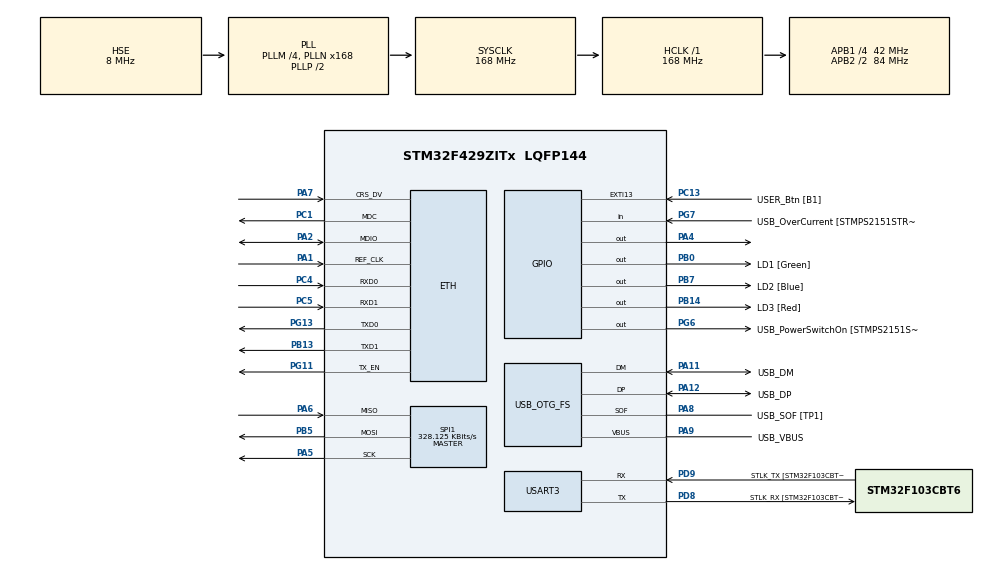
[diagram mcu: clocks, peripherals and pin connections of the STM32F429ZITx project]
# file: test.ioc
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ETH.MediaInterface=HAL_ETH_RMII_MODE
FREERTOS.Tasks01=LED_Blink_Task,24,128,LED_Blink,Default,NULL,Dynamic,NULL,NULL;Read_Tempuratur,23,128,Read_Tempurature,Default,NULL,Dynamic,NULL,NULL
FREERTOS.configUSE_NEWLIB_REENTRANT=1
Mcu.Family=STM32F4
Mcu.Name=STM32F429ZITx
Mcu.Package=LQFP144
NVIC.EXTI15_10_IRQn=true\:5\:0\:false\:false\:true\:true\:true\:true\:true
NVIC.PriorityGroup=NVIC_PRIORITYGROUP_4
NVIC.TIM2_IRQn=true\:5\:0\:false\:false\:true\:true\:true\:true\:true
NVIC.TIM6_DAC_IRQn=true\:15\:0\:false\:false\:true\:false\:false\:true\:true
NVIC.TimeBase=TIM6_DAC_IRQn
NVIC.TimeBaseIP=TIM6
PA1.GPIO_Mode=GPIO_MODE_AF_PP
PA1.GPIO_PuPd=GPIO_NOPULL
PA1.GPIO_Speed=GPIO_SPEED_FREQ_VERY_HIGH
PA1.Mode=RMII
PA1.Signal=ETH_REF_CLK
PA10.GPIO_Label=USB_ID
PA10.Signal=USB_OTG_FS_ID
PA11.GPIO_Label=USB_DM
PA11.Mode=Device_Only
PA11.Signal=USB_OTG_FS_DM
PA12.GPIO_Label=USB_DP
PA12.Mode=Device_Only
PA12.Signal=USB_OTG_FS_DP
PA13.GPIO_Label=TMS
PA13.Mode=Serial_Wire
PA13.Signal=SYS_JTMS-SWDIO
PA14.GPIO_Label=TCK
PA14.Mode=Serial_Wire
PA14.Signal=SYS_JTCK-SWCLK
PA2.GPIO_Mode=GPIO_MODE_AF_PP
PA2.GPIO_PuPd=GPIO_NOPULL
PA2.GPIO_Speed=GPIO_SPEED_FREQ_VERY_HIGH
PA2.Mode=RMII
PA2.Signal=ETH_MDIO
PA4.Signal=GPIO_Output
PA5.Mode=Full_Duplex_Master
PA5.Signal=SPI1_SCK
PA6.Mode=Full_Duplex_Master
PA6.Signal=SPI1_MISO
PA7.GPIO_Mode=GPIO_MODE_AF_PP
PA7.GPIO_PuPd=GPIO_NOPULL
PA7.GPIO_Speed=GPIO_SPEED_FREQ_VERY_HIGH
PA7.Mode=RMII
PA7.Signal=ETH_CRS_DV
PA8.GPIO_Label=USB_SOF [TP1]
PA8.Mode=Activate_SOF_FS
PA8.Signal=USB_OTG_FS_SOF
PA9.GPIO_Label=USB_VBUS
PA9.Mode=Activate_VBUS
PA9.Signal=USB_OTG_FS_VBUS
PB0.GPIO_Label=LD1 [Green]
PB0.Signal=GPIO_Output
PB13.GPIO_Mode=GPIO_MODE_AF_PP
PB13.GPIO_PuPd=GPIO_NOPULL
PB13.GPIO_Speed=GPIO_SPEED_FREQ_VERY_HIGH
PB13.Mode=RMII
PB13.Signal=ETH_TXD1
PB14.GPIO_Label=LD3 [Red]
PB14.Signal=GPIO_Output
PB5.Mode=Full_Duplex_Master
PB5.Signal=SPI1_MOSI
PB7.GPIO_Label=LD2 [Blue]
PB7.Signal=GPIO_Output
PC1.GPIO_Mode=GPIO_MODE_AF_PP
PC1.GPIO_PuPd=GPIO_NOPULL
PC1.GPIO_Speed=GPIO_SPEED_FREQ_VERY_HIGH
PC1.Mode=RMII
PC1.Signal=ETH_MDC
PC13.GPIO_Label=USER_Btn [B1]
PC13.GPIO_ModeDefaultEXTI=GPIO_MODE_IT_RISING
PC13.Signal=GPXTI13
PC14/OSC32_IN.Mode=LSE-External-Oscillator
PC14/OSC32_IN.Signal=RCC_OSC32_IN
PC15/OSC32_OUT.Mode=LSE-External-Oscillator
PC15/OSC32_OUT.Signal=RCC_OSC32_OUT
PC4.GPIO_Mode=GPIO_MODE_AF_PP
PC4.GPIO_PuPd=GPIO_NOPULL
PC4.GPIO_Speed=GPIO_SPEED_FREQ_VERY_HIGH
PC4.Mode=RMII
PC4.Signal=ETH_RXD0
PC5.GPIO_Mode=GPIO_MODE_AF_PP
PC5.GPIO_PuPd=GPIO_NOPULL
PC5.GPIO_Speed=GPIO_SPEED_FREQ_VERY_HIGH
PC5.Mode=RMII
PC5.Signal=ETH_RXD1
PD8.GPIO_Label=STLK_RX [STM32F103CBT6_PA3]
PD8.Mode=Asynchronous
PD8.Signal=USART3_TX
PD9.GPIO_Label=STLK_TX [STM32F103CBT6_PA2]
PD9.Mode=Asynchronous
PD9.Signal=USART3_RX
PG11.GPIO_Mode=GPIO_MODE_AF_PP
PG11.GPIO_PuPd=GPIO_NOPULL
PG11.GPIO_Speed=GPIO_SPEED_FREQ_VERY_HIGH
PG11.Mode=RMII
PG11.Signal=ETH_TX_EN
PG13.GPIO_Mode=GPIO_MODE_AF_PP
PG13.GPIO_PuPd=GPIO_NOPULL
PG13.GPIO_Speed=GPIO_SPEED_FREQ_VERY_HIGH
PG13.Mode=RMII
PG13.Signal=ETH_TXD0
PG6.GPIO_Label=USB_PowerSwitchOn [STMPS2151STR_EN]
PG6.Signal=GPIO_Output
PG7.GPIO_Label=USB_OverCurrent [STMPS2151STR_FAULT]
PG7.Signal=GPIO_Input
PH0/OSC_IN.GPIO_Label=MCO [STM32F103CBT6_PA8]
PH0/OSC_IN.Mode=HSE-External-Clock-Source
PH0/OSC_IN.Signal=RCC_OSC_IN
PH1/OSC_OUT.Mode=HSE-External-Clock-Source
PH1/OSC_OUT.Signal=RCC_OSC_OUT
ProjectManager.HeapSize=0x200
ProjectManager.StackSize=0x400
ProjectManager.TargetToolchain=STM32CubeIDE
RCC.48MHZClocksFreq_Value=48000000
RCC.AHBFreq_Value=168000000
RCC.APB1CLKDivider=RCC_HCLK_DIV4
RCC.APB1Freq_Value=42000000
RCC.APB1TimFreq_Value=84000000
RCC.APB2CLKDivider=RCC_HCLK_DIV2
RCC.APB2Freq_Value=84000000
RCC.APB2TimCLKDivider=2
RCC.APB2TimFreq_Value=168000000
RCC.CortexFreq_Value=168000000
RCC.HCLKFreq_Value=168000000
RCC.HSE_VALUE=8000000
RCC.HSI_VALUE=16000000
RCC.PLLM=4
RCC.PLLMUL=RCC_PLL_MUL9
RCC.PLLN=168
RCC.PLLQ=7
RCC.PRESCALERUSB=RCC_USBCLKSOURCE_PLL_DIV1_5
RCC.SYSCLKFreq_VALUE=168000000
RCC.SYSCLKSource=RCC_SYSCLKSOURCE_PLLCLK
RCC.SYSCLKSourceVirtual=RCC_SYSCLKSOURCE_PLLCLK
RCC.USBFreq_Value=48000000
RCC.VCOOutputFreq_Value=336000000
SPI1.BaudRatePrescaler=SPI_BAUDRATEPRESCALER_256
SPI1.CalculateBaudRate=328.125 KBits/s
SPI1.DataSize=SPI_DATASIZE_16BIT
SPI1.Direction=SPI_DIRECTION_2LINES
SPI1.Mode=SPI_MODE_MASTER
SPI1.VirtualType=VM_MASTER
TIM2.AutoReloadPreload=TIM_AUTORELOAD_PRELOAD_ENABLE
TIM2.Period=16800
TIM2.Prescaler=4000
USART3.VirtualMode=VM_ASYNC
USB_OTG_FS.VirtualMode=Device_Only
VP_FREERTOS_VS_CMSIS_V2.Mode=CMSIS_V2
VP_SYS_VS_tim6.Mode=TIM6
VP_TIM2_VS_ClockSourceINT.Mode=Internal
board=NUCLEO-F429ZI

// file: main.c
/* USER CODE BEGIN Header */
/**
  ******************************************************************************
  * @file           : main.c
  * @brief          : Main program body
  ******************************************************************************
  * @attention
  *
  * Copyright (c) 2023 STMicroelectronics.
  * All rights reserved.
  *
  * This software is licensed under terms that can be found in the LICENSE file
  * in the root directory of this software component.
  * If no LICENSE file comes with this software, it is provided AS-IS.
  *
  ******************************************************************************
  */
/* USER CODE END Header */
#include "main.h"
#include "string.h"
#include "cmsis_os.h"

/* USER CODE BEGIN Includes */
#include <string.h>
#include <stdio.h>
/* USER CODE END Includes */

/* USER CODE BEGIN PD */
#define CS_MAX6675_Port GPIOA
#define CS_MAX6675_Pin GPIO_PIN_4
/* USER CODE END PD */

ETH_TxPacketConfig TxConfig;
ETH_DMADescTypeDef  DMARxDscrTab[ETH_RX_DESC_CNT]; /* Ethernet Rx DMA Descriptors */
ETH_DMADescTypeDef  DMATxDscrTab[ETH_TX_DESC_CNT]; /* Ethernet Tx DMA Descriptors */

ETH_HandleTypeDef heth;

SPI_HandleTypeDef hspi1;

TIM_HandleTypeDef htim2;

UART_HandleTypeDef huart3;

PCD_HandleTypeDef hpcd_USB_OTG_FS;

/* Definitions for LED_Blink_Task */
osThreadId_t LED_Blink_TaskHandle;
const osThreadAttr_t LED_Blink_Task_attributes = {
  .name = "LED_Blink_Task",
  .stack_size = 128 * 4,
  .priority = (osPriority_t) osPriorityNormal,
};
/* Definitions for Read_Tempuratur */
osThreadId_t Read_TempuraturHandle;
const osThreadAttr_t Read_Tempuratur_attributes = {
  .name = "Read_Tempuratur",
  .stack_size = 128 * 4,
  .priority = (osPriority_t) osPriorityBelowNormal7,
};
/* USER CODE BEGIN PV */
uint8_t led_state;
uint32_t current_interrupt_time;
uint32_t last_interrupt_time;
/* USER CODE END PV */

void SystemClock_Config(void);
static void MX_GPIO_Init(void);
static void MX_ETH_Init(void);
static void MX_USART3_UART_Init(void);
static void MX_USB_OTG_FS_PCD_Init(void);
static void MX_SPI1_Init(void);
static void MX_TIM2_Init(void);
void LED_Blink(void *argument);
void Read_Tempurature(void *argument);

/* USER CODE BEGIN PFP */
//void LED_Blink(void);
void Button_Poll(void);
//float Read_Tempurature(void);
/* USER CODE END PFP */

/* USER CODE BEGIN 0 */
int _write(int32_t file, uint8_t *ptr, int32_t len)
{
    for (int i = 0; i < len; i++)
    {
        ITM_SendChar(*ptr++);
    }
    return len;
}
/* USER CODE END 0 */

int main(void)
{

  /* MCU Configuration--------------------------------------------------------*/

  /* Reset of all peripherals, Initializes the Flash interface and the Systick. */
  HAL_Init();

  /* Configure the system clock */
  SystemClock_Config();

  /* Initialize all configured peripherals */
  MX_GPIO_Init();
  MX_ETH_Init();
  MX_USART3_UART_Init();
  MX_USB_OTG_FS_PCD_Init();
  MX_SPI1_Init();
  MX_TIM2_Init();
  /* USER CODE BEGIN 2 */
  HAL_TIM_Base_Start_IT(&htim2);
  /* USER CODE END 2 */

  /* Init scheduler */
  osKernelInitialize();

  /* Create the thread(s) */
  /* creation of LED_Blink_Task */
  LED_Blink_TaskHandle = osThreadNew(LED_Blink, NULL, &LED_Blink_Task_attributes);

  /* creation of Read_Tempuratur */
  Read_TempuraturHandle = osThreadNew(Read_Tempurature, NULL, &Read_Tempuratur_attributes);

  /* Start scheduler */
  osKernelStart();
  /* We should never get here as control is now taken by the scheduler */
  /* Infinite loop */
  while(1) {
  }

}

void SystemClock_Config(void)
{
  RCC_OscInitTypeDef RCC_OscInitStruct = {0};
  RCC_ClkInitTypeDef RCC_ClkInitStruct = {0};

  /** Configure the main internal regulator output voltage
  */
  __HAL_RCC_PWR_CLK_ENABLE();
  __HAL_PWR_VOLTAGESCALING_CONFIG(PWR_REGULATOR_VOLTAGE_SCALE1);

  /** Initializes the RCC Oscillators according to the specified parameters
  * in the RCC_OscInitTypeDef structure.
  */
  RCC_OscInitStruct.OscillatorType = RCC_OSCILLATORTYPE_HSE;
  RCC_OscInitStruct.HSEState = RCC_HSE_BYPASS;
  RCC_OscInitStruct.PLL.PLLState = RCC_PLL_ON;
  RCC_OscInitStruct.PLL.PLLSource = RCC_PLLSOURCE_HSE;
  RCC_OscInitStruct.PLL.PLLM = 4;
  RCC_OscInitStruct.PLL.PLLN = 168;
  RCC_OscInitStruct.PLL.PLLP = RCC_PLLP_DIV2;
  RCC_OscInitStruct.PLL.PLLQ = 7;
  if (HAL_RCC_OscConfig(&RCC_OscInitStruct) != HAL_OK)
  {
    Error_Handler();
  }

  /** Initializes the CPU, AHB and APB buses clocks
  */
  RCC_ClkInitStruct.ClockType = RCC_CLOCKTYPE_HCLK|RCC_CLOCKTYPE_SYSCLK
                              |RCC_CLOCKTYPE_PCLK1|RCC_CLOCKTYPE_PCLK2;
  RCC_ClkInitStruct.SYSCLKSource = RCC_SYSCLKSOURCE_PLLCLK;
  RCC_ClkInitStruct.AHBCLKDivider = RCC_SYSCLK_DIV1;
  RCC_ClkInitStruct.APB1CLKDivider = RCC_HCLK_DIV4;
  RCC_ClkInitStruct.APB2CLKDivider = RCC_HCLK_DIV2;

  if (HAL_RCC_ClockConfig(&RCC_ClkInitStruct, FLASH_LATENCY_5) != HAL_OK)
  {
    Error_Handler();
  }
}

static void MX_ETH_Init(void)
{

   static uint8_t MACAddr[6];

  heth.Instance = ETH;
  MACAddr[0] = 0x00;
  MACAddr[1] = 0x80;
  MACAddr[2] = 0xE1;
  MACAddr[3] = 0x00;
  MACAddr[4] = 0x00;
  MACAddr[5] = 0x00;
  heth.Init.MACAddr = &MACAddr[0];
  heth.Init.MediaInterface = HAL_ETH_RMII_MODE;
  heth.Init.TxDesc = DMATxDscrTab;
  heth.Init.RxDesc = DMARxDscrTab;
  heth.Init.RxBuffLen = 1524;

  if (HAL_ETH_Init(&heth) != HAL_OK)
  {
    Error_Handler();
  }

  memset(&TxConfig, 0 , sizeof(ETH_TxPacketConfig));
  TxConfig.Attributes = ETH_TX_PACKETS_FEATURES_CSUM | ETH_TX_PACKETS_FEATURES_CRCPAD;
  TxConfig.ChecksumCtrl = ETH_CHECKSUM_IPHDR_PAYLOAD_INSERT_PHDR_CALC;
  TxConfig.CRCPadCtrl = ETH_CRC_PAD_INSERT;

}

static void MX_SPI1_Init(void)
{

  /* SPI1 parameter configuration*/
  hspi1.Instance = SPI1;
  hspi1.Init.Mode = SPI_MODE_MASTER;
  hspi1.Init.Direction = SPI_DIRECTION_2LINES;
  hspi1.Init.DataSize = SPI_DATASIZE_16BIT;
  hspi1.Init.CLKPolarity = SPI_POLARITY_LOW;
  hspi1.Init.CLKPhase = SPI_PHASE_1EDGE;
  hspi1.Init.NSS = SPI_NSS_SOFT;
  hspi1.Init.BaudRatePrescaler = SPI_BAUDRATEPRESCALER_256;
  hspi1.Init.FirstBit = SPI_FIRSTBIT_MSB;
  hspi1.Init.TIMode = SPI_TIMODE_DISABLE;
  hspi1.Init.CRCCalculation = SPI_CRCCALCULATION_DISABLE;
  hspi1.Init.CRCPolynomial = 10;
  if (HAL_SPI_Init(&hspi1) != HAL_OK)
  {
    Error_Handler();
  }

}

static void MX_TIM2_Init(void)
{

  TIM_ClockConfigTypeDef sClockSourceConfig = {0};
  TIM_MasterConfigTypeDef sMasterConfig = {0};

  htim2.Instance = TIM2;
  htim2.Init.Prescaler = 4000;
  htim2.Init.CounterMode = TIM_COUNTERMODE_UP;
  htim2.Init.Period = 16800;
  htim2.Init.ClockDivision = TIM_CLOCKDIVISION_DIV1;
  htim2.Init.AutoReloadPreload = TIM_AUTORELOAD_PRELOAD_ENABLE;
  if (HAL_TIM_Base_Init(&htim2) != HAL_OK)
  {
    Error_Handler();
  }
  sClockSourceConfig.ClockSource = TIM_CLOCKSOURCE_INTERNAL;
  if (HAL_TIM_ConfigClockSource(&htim2, &sClockSourceConfig) != HAL_OK)
  {
    Error_Handler();
  }
  sMasterConfig.MasterOutputTrigger = TIM_TRGO_RESET;
  sMasterConfig.MasterSlaveMode = TIM_MASTERSLAVEMODE_DISABLE;
  if (HAL_TIMEx_MasterConfigSynchronization(&htim2, &sMasterConfig) != HAL_OK)
  {
    Error_Handler();
  }

}

static void MX_USART3_UART_Init(void)
{

  huart3.Instance = USART3;
  huart3.Init.BaudRate = 115200;
  huart3.Init.WordLength = UART_WORDLENGTH_8B;
  huart3.Init.StopBits = UART_STOPBITS_1;
  huart3.Init.Parity = UART_PARITY_NONE;
  huart3.Init.Mode = UART_MODE_TX_RX;
  huart3.Init.HwFlowCtl = UART_HWCONTROL_NONE;
  huart3.Init.OverSampling = UART_OVERSAMPLING_16;
  if (HAL_UART_Init(&huart3) != HAL_OK)
  {
    Error_Handler();
  }

}

static void MX_USB_OTG_FS_PCD_Init(void)
{

  hpcd_USB_OTG_FS.Instance = USB_OTG_FS;
  hpcd_USB_OTG_FS.Init.dev_endpoints = 4;
  hpcd_USB_OTG_FS.Init.speed = PCD_SPEED_FULL;
  hpcd_USB_OTG_FS.Init.dma_enable = DISABLE;
  hpcd_USB_OTG_FS.Init.phy_itface = PCD_PHY_EMBEDDED;
  hpcd_USB_OTG_FS.Init.Sof_enable = ENABLE;
  hpcd_USB_OTG_FS.Init.low_power_enable = DISABLE;
  hpcd_USB_OTG_FS.Init.lpm_enable = DISABLE;
  hpcd_USB_OTG_FS.Init.vbus_sensing_enable = ENABLE;
  hpcd_USB_OTG_FS.Init.use_dedicated_ep1 = DISABLE;
  if (HAL_PCD_Init(&hpcd_USB_OTG_FS) != HAL_OK)
  {
    Error_Handler();
  }

}

static void MX_GPIO_Init(void)
{
  GPIO_InitTypeDef GPIO_InitStruct = {0};

  /* GPIO Ports Clock Enable */
  __HAL_RCC_GPIOC_CLK_ENABLE();
  __HAL_RCC_GPIOH_CLK_ENABLE();
  __HAL_RCC_GPIOA_CLK_ENABLE();
  __HAL_RCC_GPIOB_CLK_ENABLE();
  __HAL_RCC_GPIOD_CLK_ENABLE();
  __HAL_RCC_GPIOG_CLK_ENABLE();

  /*Configure GPIO pin Output Level */
  HAL_GPIO_WritePin(GPIOA, GPIO_PIN_4, GPIO_PIN_RESET);

  /*Configure GPIO pin Output Level */
  HAL_GPIO_WritePin(GPIOB, LD1_Pin|LD3_Pin|LD2_Pin, GPIO_PIN_RESET);

  /*Configure GPIO pin Output Level */
  HAL_GPIO_WritePin(USB_PowerSwitchOn_GPIO_Port, USB_PowerSwitchOn_Pin, GPIO_PIN_RESET);

  /*Configure GPIO pin : USER_Btn_Pin */
  GPIO_InitStruct.Pin = USER_Btn_Pin;
  GPIO_InitStruct.Mode = GPIO_MODE_IT_RISING;
  GPIO_InitStruct.Pull = GPIO_NOPULL;
  HAL_GPIO_Init(USER_Btn_GPIO_Port, &GPIO_InitStruct);

  /*Configure GPIO pin : PA4 */
  GPIO_InitStruct.Pin = GPIO_PIN_4;
  GPIO_InitStruct.Mode = GPIO_MODE_OUTPUT_PP;
  GPIO_InitStruct.Pull = GPIO_NOPULL;
  GPIO_InitStruct.Speed = GPIO_SPEED_FREQ_LOW;
  HAL_GPIO_Init(GPIOA, &GPIO_InitStruct);

  /*Configure GPIO pins : LD1_Pin LD3_Pin LD2_Pin */
  GPIO_InitStruct.Pin = LD1_Pin|LD3_Pin|LD2_Pin;
  GPIO_InitStruct.Mode = GPIO_MODE_OUTPUT_PP;
  GPIO_InitStruct.Pull = GPIO_NOPULL;
  GPIO_InitStruct.Speed = GPIO_SPEED_FREQ_LOW;
  HAL_GPIO_Init(GPIOB, &GPIO_InitStruct);

  /*Configure GPIO pin : USB_PowerSwitchOn_Pin */
  GPIO_InitStruct.Pin = USB_PowerSwitchOn_Pin;
  GPIO_InitStruct.Mode = GPIO_MODE_OUTPUT_PP;
  GPIO_InitStruct.Pull = GPIO_NOPULL;
  GPIO_InitStruct.Speed = GPIO_SPEED_FREQ_LOW;
  HAL_GPIO_Init(USB_PowerSwitchOn_GPIO_Port, &GPIO_InitStruct);

  /*Configure GPIO pin : USB_OverCurrent_Pin */
  GPIO_InitStruct.Pin = USB_OverCurrent_Pin;
  GPIO_InitStruct.Mode = GPIO_MODE_INPUT;
  GPIO_InitStruct.Pull = GPIO_NOPULL;
  HAL_GPIO_Init(USB_OverCurrent_GPIO_Port, &GPIO_InitStruct);

  /* EXTI interrupt init*/
  HAL_NVIC_SetPriority(EXTI15_10_IRQn, 5, 0);
  HAL_NVIC_EnableIRQ(EXTI15_10_IRQn);

}

/* USER CODE BEGIN 4 */

void Button_Poll(void) {
	 //UNUSED: Polling for button
		  if(HAL_GPIO_ReadPin(GPIOC, GPIO_PIN_13)) {
			  HAL_Delay(100);
			  if(HAL_GPIO_ReadPin(GPIOC, GPIO_PIN_13)) {
				  led_state++;
				  if(led_state>3)
					  led_state = 0;
				  //printf("led_state: %d\n", led_state);
			  }
		  }
}

void HAL_GPIO_EXTI_Callback(uint16_t GPIO_Pin) {
	if(GPIO_Pin == GPIO_PIN_13){
		current_interrupt_time = HAL_GetTick();
		if((current_interrupt_time - last_interrupt_time) > 150){
			led_state++;
			if(led_state>3)
				led_state = 0;
		}
		last_interrupt_time = current_interrupt_time;
	}
}
/* USER CODE END 4 */

void LED_Blink(void *argument)
{
  /* USER CODE BEGIN 5 */
  /* Infinite loop */
  for(;;)
  {
	  //Store LED State in Buffer
	  uint8_t uart_buf[40];
	  sprintf((char*)uart_buf, "Task1: LED State:%d\r\n", led_state);

	  //Transmit via UART
	  HAL_UART_Transmit(&huart3, uart_buf, strlen((char*)uart_buf), HAL_MAX_DELAY);

	  //LED State Machine
//	  switch(led_state) {
//	  	  case 0:
//			  //LED0 ON
//			  HAL_GPIO_WritePin(GPIOB, GPIO_PIN_0, GPIO_PIN_SET);
//			  HAL_GPIO_WritePin(GPIOB, GPIO_PIN_7, GPIO_PIN_RESET);
//			  HAL_GPIO_WritePin(GPIOB, GPIO_PIN_14, GPIO_PIN_RESET);
//	  		  break;
//	  	  case 1 :
//	  		  //LED1 ON
//			  HAL_GPIO_WritePin(GPIOB, GPIO_PIN_0, GPIO_PIN_RESET);
//			  HAL_GPIO_WritePin(GPIOB, GPIO_PIN_7, GPIO_PIN_SET);
//			  HAL_GPIO_WritePin(GPIOB, GPIO_PIN_14, GPIO_PIN_RESET);
//	  		  break;
//	  	  case 2 :
//			  //LED2 ON
//			  HAL_GPIO_WritePin(GPIOB, GPIO_PIN_0, GPIO_PIN_RESET);
//			  HAL_GPIO_WritePin(GPIOB, GPIO_PIN_7, GPIO_PIN_RESET);
//			  HAL_GPIO_WritePin(GPIOB, GPIO_PIN_14, GPIO_PIN_SET);
//	  		  break;
//	  	  default:
//	  		  //All OFF
//			  HAL_GPIO_WritePin(GPIOB, GPIO_PIN_0, GPIO_PIN_RESET);
//			  HAL_GPIO_WritePin(GPIOB, GPIO_PIN_7, GPIO_PIN_RESET);
//			  HAL_GPIO_WritePin(GPIOB, GPIO_PIN_14, GPIO_PIN_RESET);
//	  		  break;
//	  }
	  osDelay(200);
  }
  //In case we accidently exit the task loop
  osThreadTerminate(NULL);
  /* USER CODE END 5 */
}

void Read_Tempurature(void *argument)
{
  /* USER CODE BEGIN Read_Tempurature */
	//declarations
	uint8_t data[2];
	uint8_t uart_buf[40];
	uint16_t temp;
  /* Infinite loop */
    for(;;)
    {
	    //Receive temperature data via SPI
	    HAL_GPIO_WritePin(CS_MAX6675_Port, CS_MAX6675_Pin, GPIO_PIN_RESET);
	    HAL_SPI_Receive(&hspi1, data, 1, HAL_MAX_DELAY);
	    HAL_GPIO_WritePin(CS_MAX6675_Port, CS_MAX6675_Pin, GPIO_PIN_SET);

	    //conversion to degree C
	    temp = ((((data[0]|data[1]<<8)))>>3);
	    float temperature = temp * 0.25;

	    // String conversion
	    temperature *= 100;
	    sprintf((char*)uart_buf, "Task2: Temperature: %u.%02u C\r\n",
	    		((unsigned int) temperature/100), ((unsigned int) temperature%100));
	    //Transmit via UART
	    HAL_UART_Transmit(&huart3, uart_buf, strlen((char*)uart_buf), HAL_MAX_DELAY);

	    osDelay(2000);
    }
    //In case we accidently exit the task loop
    osThreadTerminate(NULL);
  /* USER CODE END Read_Tempurature */
}

void HAL_TIM_PeriodElapsedCallback(TIM_HandleTypeDef *htim)
{
  if (htim->Instance == TIM6) {
    HAL_IncTick();
  }
  /* USER CODE BEGIN Callback 1 */
  if (htim->Instance == TIM2) {
	  HAL_GPIO_TogglePin(GPIOB, GPIO_PIN_0);
  }
  /* USER CODE END Callback 1 */
}

void Error_Handler(void)
{
  __disable_irq();
  while (1)
  {
  }
}
